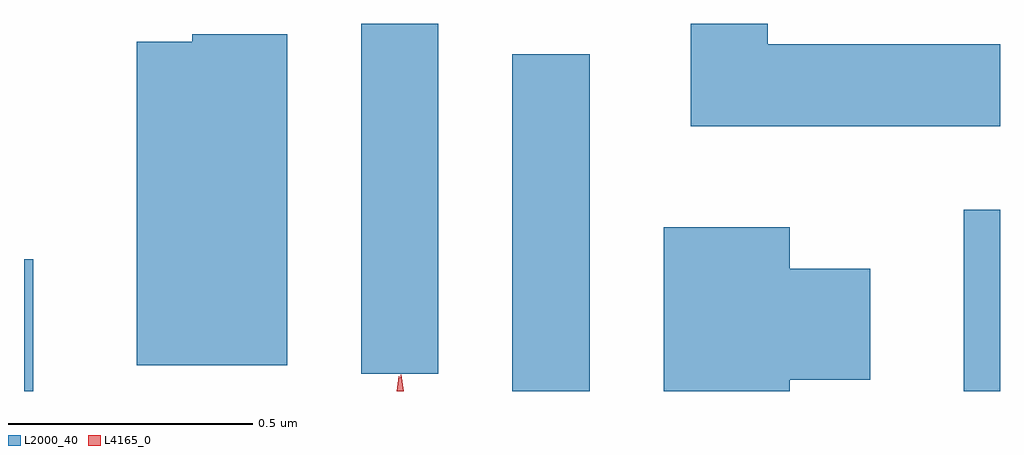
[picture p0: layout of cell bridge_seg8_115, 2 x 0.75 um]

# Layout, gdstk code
import gdstk
lib = gdstk.Library(unit=1e-6, precision=1e-09)
def R(c, l, rs):  # rectangles x0, y0, x1, y1
    for r in rs: c.add(gdstk.rectangle(r[:2], r[2:], *l))
def P(c, l, *ps):  # polygons
    for p in ps: c.add(gdstk.Polygon(p, *l))
L2000_40 = (2000, 40)
L4165_0 = (4165, 0)

bridge_seg8_115 = lib.new_cell('bridge_seg8_115')
R(bridge_seg8_115, L2000_40, [(1536.335,1806.342,1536.354,1806.613), (1537.336,1806.342,1537.494,1807.033), (1538.261,1806.342,1538.335,1806.714), (1537.026,1806.378,1537.184,1807.096)])
P(bridge_seg8_115, L2000_40, [(1538.335,1807.054),(1537.859,1807.054),(1537.859,1807.096),(1537.701,1807.096),(1537.701,1806.886),(1538.335,1806.886)],
  [(1536.874,1807.074),(1536.68,1807.074),(1536.68,1807.059),(1536.566,1807.059),(1536.566,1806.396),(1536.874,1806.396)],
  [(1537.904,1806.366),(1538.069,1806.366),(1538.069,1806.594),(1537.904,1806.594),(1537.904,1806.679),(1537.646,1806.679),(1537.646,1806.342),(1537.904,1806.342)])
P(bridge_seg8_115, L4165_0, [(1537.103,1806.342),(1537.107,1806.376),(1537.108,1806.376),(1537.113,1806.342)],
  [(1537.099,1806.342),(1537.103,1806.373),(1537.104,1806.373),(1537.109,1806.342)])

lib.write_gds('bridge_seg8_115.gds')
